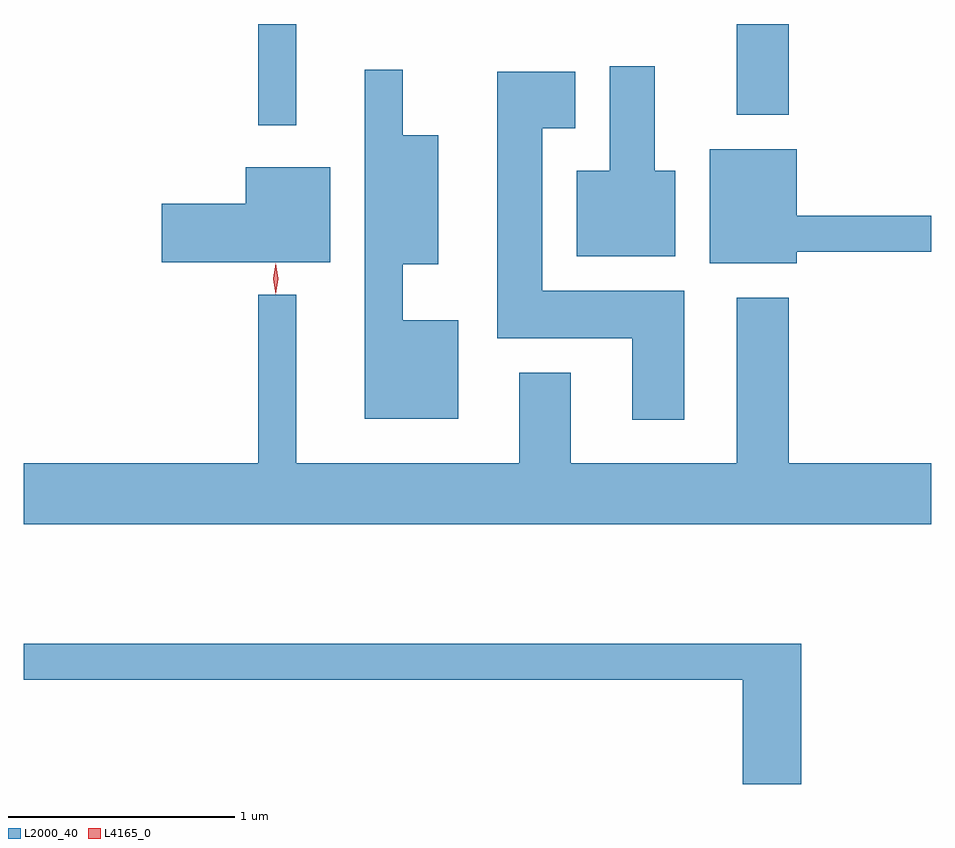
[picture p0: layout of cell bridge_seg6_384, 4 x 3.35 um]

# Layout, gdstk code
import gdstk
lib = gdstk.Library(unit=1e-6, precision=1e-09)
def R(c, l, rs):  # rectangles x0, y0, x1, y1
    for r in rs: c.add(gdstk.rectangle(r[:2], r[2:], *l))
def P(c, l, *ps):  # polygons
    for p in ps: c.add(gdstk.Polygon(p, *l))
L2000_40 = (2000, 40)
L4165_0 = (4165, 0)

bridge_seg6_384 = lib.new_cell('bridge_seg6_384')
R(bridge_seg6_384, L2000_40, [(882.461,1658.353,882.629,1658.8), (884.571,1658.401,884.799,1658.8)])
P(bridge_seg6_384, L2000_40, [(884.299,1658.154),(884.209,1658.154),(884.209,1658.614),(884.011,1658.614),(884.011,1658.154),(883.866,1658.154),(883.866,1657.776),(884.299,1657.776)],
  [(883.344,1657.494),(883.099,1657.494),(883.099,1657.741),(883.254,1657.741),(883.254,1658.309),(883.099,1658.309),(883.099,1658.598),(882.931,1658.598),(882.931,1657.061),(883.344,1657.061)],
  [(884.339,1657.624),(883.714,1657.624),(883.714,1658.341),(883.859,1658.341),(883.859,1658.589),(883.516,1658.589),(883.516,1657.416),(884.111,1657.416),(884.111,1657.056),(884.339,1657.056)],
  [(884.834,1657.796),(885.428,1657.796),(885.428,1657.954),(884.834,1657.954),(884.834,1658.249),(884.451,1658.249),(884.451,1657.746),(884.834,1657.746)],
  [(882.779,1658.169),(882.406,1658.169),(882.406,1658.009),(882.036,1658.009),(882.036,1657.751),(882.779,1657.751)],
  [(885.428,1656.864),(884.799,1656.864),(884.799,1657.594),(884.571,1657.594),(884.571,1656.864),(883.839,1656.864),(883.839,1657.264),(883.611,1657.264),(883.611,1656.864),(882.629,1656.864),(882.629,1657.608),(882.461,1657.608),(882.461,1656.864),(881.428,1656.864),(881.428,1656.596),(885.428,1656.596)],
  [(884.854,1656.069),(881.428,1656.069),(881.428,1655.911),(884.596,1655.911),(884.596,1655.451),(884.854,1655.451)])
P(bridge_seg6_384, L4165_0, [(882.539,1657.61),(882.529,1657.678),(882.538,1657.745),(882.539,1657.746),(882.539,1657.745),(882.549,1657.678),(882.54,1657.61),(882.54,1657.61)],
  [(882.539,1657.613),(882.529,1657.676),(882.539,1657.74),(882.539,1657.74),(882.54,1657.74),(882.549,1657.676),(882.54,1657.613),(882.54,1657.613)])

lib.write_gds('bridge_seg6_384.gds')
